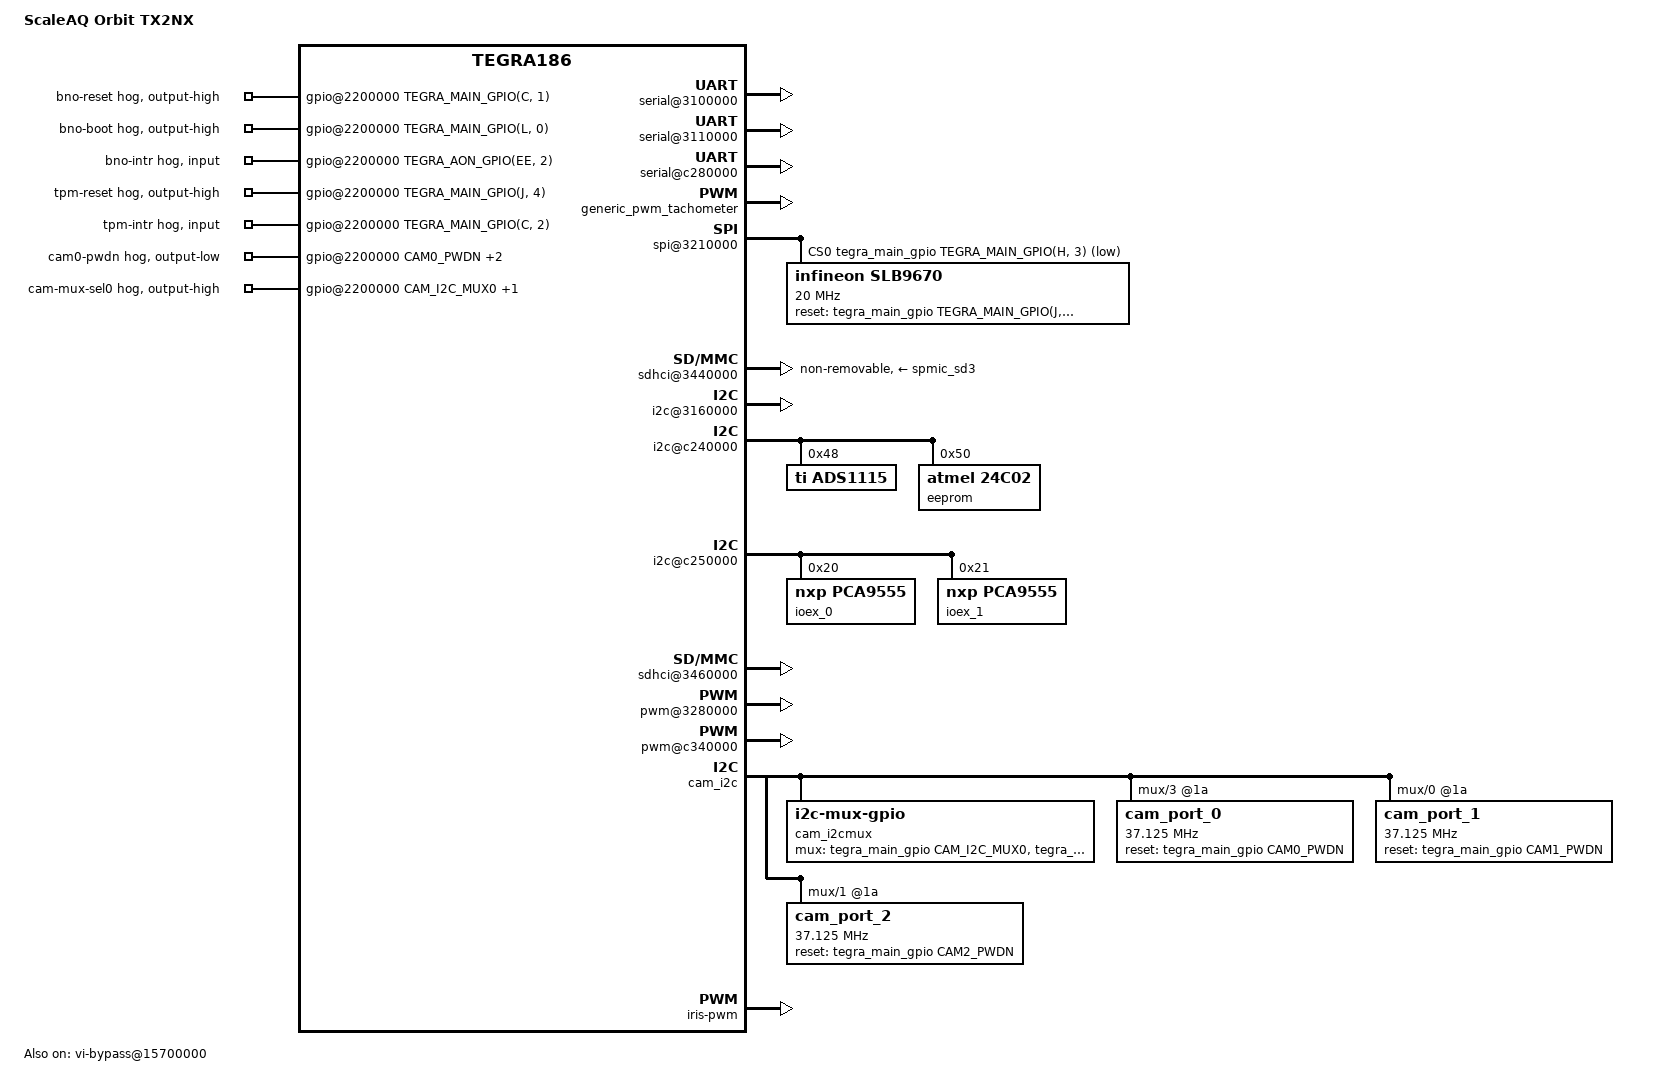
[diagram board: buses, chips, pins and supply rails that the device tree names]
/*
 * tegra186-p3636-0001-common.dtsi : Lanai common dtsi.
 *
 * Copyright (c) 2020, NVIDIA CORPORATION.  All rights reserved.
 *
 * This program is free software; you can redistribute it and/or modify
 * it under the terms of the GNU General Public License as published by
 * the Free Software Foundation; version 2 of the License.
 *
 * This program is distributed in the hope that it will be useful, but WITHOUT
 * ANY WARRANTY; without even the implied warranty of MERCHANTABILITY or
 * FITNESS FOR A PARTICULAR PURPOSE.  See the GNU General Public License for
 * more details.
 */

#include <dt-bindings/types.h>
#include <dt-bindings/gpio/tegra186-gpio.h>
#include <dt-bindings/audio/tegra186-audio.h>
/dts-v1/;

/memreserve/ 0x80000000 0x00010000;

#include <tegra186-soc/tegra186-soc-cvm.dtsi>
#include <tegra186-soc/mods-simple-bus.dtsi>
#include <t18x-common-platforms/tegra186-platforms-simple-bus.dtsi>
#include <t18x-common-platforms/tegra186-thermal-userspace-alert.dtsi>

//#include "common/tegra186-p3636-0001-a00-disp.dtsi"
#include "common/tegra186-p3636-0001-a00-powermon.dtsi"
#include "common/tegra186-p3636-0001-a00-power-tree.dtsi"
#include "common/tegra186-p3636-0001-a00-pwm-fan.dtsi"
#include "common/tegra186-p3636-0001-a00-thermal-fan-est.dtsi"
#include "common/tegra186-p3636-0001-a00-eqos.dtsi"
//#include "common/tegra186-p3636-0001-a00-audio.dtsi"
#include "common/tegra186-p3636-0001-a00-thermal.dtsi"
#include "common/tegra186-p3636-plugin-manager.dtsi"
#include "tegra18x-orbit_tx2nx_rev3-pinmux.dtsi"

#define EXTCON_NONE		0
#define EXTCON_USB		1
#define EXTCON_USB_Host		2

#define CAM0_PWDN	TEGRA_MAIN_GPIO(N, 0)
#define CAM1_PWDN	TEGRA_MAIN_GPIO(N, 3)
#define CAM2_PWDN	TEGRA_MAIN_GPIO(L, 2)
#define CAM_I2C_MUX0	TEGRA_MAIN_GPIO(C, 4)
#define CAM_I2C_MUX1	TEGRA_MAIN_GPIO(L, 3)

/ {
	model = "ScaleAQ Orbit TX2NX";
	compatible = "nvidia,lanai-3636", "nvidia,tegra186";

	#address-cells = <2>;
	#size-cells = <2>;

	eeprom-manager {
		bus@0 {
			/delete-node/ eeprom@1;
		};
	};

	serial@3100000 {
		compatible = "nvidia,tegra20-uart", "nvidia,tegra186-hsuart";
		console-port;
		sqa-automation-port;
		/delete-property/ resets;
		/delete-property/ reset-names;
		status = "okay";
	};

	serial@3110000 {
		status = "okay"; /* ttyTHS1 for Housing RS485 */
	};

	serial@c280000 {
		status = "okay"; /* ttyTHS2 for Oxygen */
	};

	serial@3130000 {
		compatible = "nvidia,tegra186-hsuart";
		status = "disabled";
	};

	vi-bypass@15700000{
		compatible = "nvidia,tegra186-vi-bypass";
		status = "okay";
	};

	tachometer@39c0000 {
		status = "okay";
	};

	generic_pwm_tachometer {
		pwms = <&tegra_tachometer 0 1000000>;
		status = "okay";
	};

	pmc@c360000 {
		nvidia,restrict-voltage-switch;
		iopad-defaults {
			sdmmc-io-pads {
				pins = "sdmmc1-hv", "sdmmc2-hv", "sdmmc3-hv";
				nvidia,enable-voltage-switching;
			};
		};
	};

	pmc@c370000 {
		nvidia,invert-interrupt;
	};

	spi@3210000 {
		status = "okay";

		cs-gpios = <&tegra_main_gpio TEGRA_MAIN_GPIO(H, 3) GPIO_ACTIVE_LOW>;

		slb9670: slb9670@0{
			compatible = "infineon,slb9670";
			reg = <0>;
			spi-max-frequency = <20000000>;
			status = "okay";
			reset-gpios = <&tegra_main_gpio TEGRA_MAIN_GPIO(J, 4) GPIO_ACTIVE_LOW>;

			controller-data {
				nvidia,variable-length-transfer;
				nvidia,rx-clk-tap-delay = <31>;
			};
		};
	};

	spi@3240000 {
		status = "disabled";
	};

	// SD card
	sdhci@3440000 {
		status = "okay";
		/delete-property/ cd-gpios;
		/delete-property/ nvidia,cd-wakeup-capable;
		broken-cd;
		disable-wp;
		vmmc-supply = <&spmic_sd3>;
		nvidia,vmmc-always-on;
		mmc-ocr-mask = <3>;
		sd-uhs-sdr104;
		sd-uhs-sdr50;
		sd-uhs-sdr25;
		sd-uhs-sdr12;
		mmc-ddr-1_8v;
		mmc-hs200-1_8v;
		keep-power-in-suspend;
		non-removable;
		force-non-removable-rescan;
		/delete-property/ mmc-ddr-1_8v;
	};

	/* I2C 0 - for BNO085 sensor */
	i2c@3160000 {
		status = "okay";
	};

	/* I2C1 - ADC reading */
	i2c@c240000 {
		status = "okay";

		ads1115: ads1115 {
			compatible = "ti,ads1115";
			status = "okay";
			#address-cells = <1>;
			#size-cells = <0>;
			reg = <0x48>;

			/* These two channel will be availabe in hwmon module.
			 * Check https://jumpnowtek.com/rpi/Using-ads1115-ADCs-with-Raspberry-Pis.html
			 *   and https://github.com/raspberrypi/linux/blob/rpi-4.9.y/arch/arm/boot/dts/overlays/ads1115-overlay.dts
			 *   and https://www.kernel.org/doc/Documentation/hwmon/ads1015
			 * Read by command: ls /sys/class/hwmon/hwmon0/device
			 */
			channel_a: channel_a {
				/* Presure sensor, 0-5V, throught divider resistors, range is 0-2.58V
				 */
				reg = <4>;
				ti,gain = <1>;
				ti,datarate = <1>;
			};

			channel_b: channel_b {
				reg = <5>;
				ti,gain = <1>;
				ti,datarate = <1>;
			};
		};

		/* Configuration for 24AA02E64 eeprom, but not sure it is correct or not
		 * There is no reference device tree for this type of EEPROM.
		 */
		eeprom@50 {
			compatible = "atmel,24c02";
			reg = <0x50>;
			pagesize = <8>;
		};
	};

	/* I2C 2 - for GPIO expander */
	i2c@c250000 {
		status = "okay";

		/* TCA9555 driver, address 0x20, interrupt GPIO10 */
		ioex_0: gpio@20 {
			compatible = "nxp,pca9555";
			reg = <0x20>;
			/* No input pins, so no interrupt definition is required */

			gpio-controller;
			#gpio-cells = <2>;
			ngpios = <16>;
			gpio-line-names =
				"shdn-1", "de-1", "re-1", "485232-1", "te-1",
				"iris-dir", "iris-en", "iris-sleep",
				"ir-filter-en", "ir-filter-ph",
				"", "", "", "", "", "";
			shdn-1 {
				gpio-hog;
				gpios = <0 GPIO_ACTIVE_HIGH>;
				output-low;
				line-name = "shdn-1";
			};
			de-1 {
				gpio-hog;
				gpios = <1 GPIO_ACTIVE_HIGH>;
				output-low;
				line-name = "de-1";
			};
			re-1 {
				gpio-hog;
				gpios = <2 GPIO_ACTIVE_HIGH>;
				output-low;
				line-name = "re-1";
			};
			485232-1 {
				gpio-hog;
				gpios = <3 GPIO_ACTIVE_HIGH>;
				output-low;
				line-name = "485232-1";
			};
			te-1 {
				gpio-hog;
				gpios = <4 GPIO_ACTIVE_HIGH>;
				output-low;
				line-name = "te-1";
			};
			iris-dir {
				gpio-hog;
				gpios = <5 GPIO_ACTIVE_HIGH>;
				output-low;
				line-name = "iris-dir";
			};
			iris-en {
				gpio-hog;
				gpios = <6 GPIO_ACTIVE_HIGH>;
				output-low;
				line-name = "iris-en";
			};
			iris-sleep {
				gpio-hog;
				gpios = <7 GPIO_ACTIVE_HIGH>;
				output-low;
				line-name = "iris-sleep";
			};
			ir-filter-en {
				gpio-hog;
				gpios = <8 GPIO_ACTIVE_HIGH>;
				output-low;
				line-name = "ir-filter-en";
			};
			ir-filter-ph {
				gpio-hog;
				gpios = <9 GPIO_ACTIVE_HIGH>;
				output-low;
				line-name = "ir-filter-ph";
			};
		};

		ioex_1: gpio@21 {
			compatible = "nxp,pca9555";
			reg = <0x21>;
			/* No input pins, so no interrupt definition is required */

			gpio-controller;
			#gpio-cells = <2>;
			ngpios = <16>;
			gpio-line-names = \
				"shdn-2", "de-2", "re-2", "485232-2", "te-2", \
				"", "", "en-24v", \
				"leden-1", "leden-2", "leden-3", \
				"en-10v", "", \
				"poe-tpl", "poe-tph", "poe-bt";
			shdn-2 {
				gpio-hog;
				gpios = <0 GPIO_ACTIVE_HIGH>;
				output-low;
				line-name = "shdn-2";
			};
			de-2 {
				gpio-hog;
				gpios = <1 GPIO_ACTIVE_HIGH>;
				output-low;
				line-name = "de-2";
			};
			re-2 {
				gpio-hog;
				gpios = <2 GPIO_ACTIVE_HIGH>;
				output-low;
				line-name = "re-2";
			};
			485232-2 {
				gpio-hog;
				gpios = <3 GPIO_ACTIVE_HIGH>;
				output-low;
				line-name = "485232-2";
			};
			te-2 {
				gpio-hog;
				gpios = <4 GPIO_ACTIVE_HIGH>;
				output-low;
				line-name = "te-2";
			};
			en-24v {
				gpio-hog;
				gpios = <7 GPIO_ACTIVE_HIGH>;
				output-low;
				line-name = "en-24v";
			};
			leden-1 {
				gpio-hog;
				gpios = <8 GPIO_ACTIVE_HIGH>;
				output-low;
				line-name = "leden-1";
			};
			leden-2 {
				gpio-hog;
				gpios = <9 GPIO_ACTIVE_HIGH>;
				output-low;
				line-name = "leden-2";
			};
			leden-3 {
				gpio-hog;
				gpios = <10 GPIO_ACTIVE_HIGH>;
				output-low;
				line-name = "leden-3";
			};
			en-10v {
				gpio-hog;
				gpios = <11 GPIO_ACTIVE_HIGH>;
				output-low;
				line-name = "en-10v";
			};
			poe-tpl {
				gpio-hog;
				gpios = <13 GPIO_ACTIVE_HIGH>;
				line-name = "poe-tpl";
			};
			poe-tph {
				gpio-hog;
				gpios = <14 GPIO_ACTIVE_HIGH>;
				line-name = "poe-tph";
			};
			poe-bt {
				gpio-hog;
				gpios = <15 GPIO_ACTIVE_HIGH>;
				line-name = "poe-bt";
			};
		};

		/delete-node/ battery-charger@6b;
	};

	external-connection {
		vbus_id_extcon: extcon@1 {
			compatible = "extcon-gpio-states";
			reg = <0x1>;
			extcon-gpio,name = "VBUS";
			extcon-gpio,wait-for-gpio-scan = <0>;
			extcon-gpio,cable-states = <
						    0x0 0x1
						    0x1 0x0>;
			gpios = <&tegra_main_gpio TEGRA_MAIN_GPIO(L, 4) 0>;
			extcon-gpio,out-cable-names = <EXTCON_USB EXTCON_USB_Host EXTCON_NONE>;
			wakeup-source;
			#extcon-cells = <1>;
		};
	};

	/* eMMC */
	sdhci@3460000 {
		uhs-mask = <0x0>; /*enable HS400 mode*/
		nvidia,enable-strobe-mode;
		nvidia,en-periodic-cflush;
		nvidia,periodic-cflush-to = <100>;
		nvidia,enable-hwcq;
		mmc-hs400-enhanced-strobe;
		status = "okay";
	};

	pwm@3280000 {
		status = "okay";
	};

	pwm@3290000 {
		status = "disabled";
	};

	pwm@32a0000 {
		status = "disabled";
	};

	pwm@c340000 {
		status = "okay";
	};

	soft_wdt:soft_watchdog {
		compatible = "softdog-platform";
		status = "okay";
	};

	mailbox@3538000 {
		status = "okay";
	};

	xudc@3550000 {
		extcon-cables = <&vbus_id_extcon 0>;
		extcon-cable-names = "vbus";
		#extcon-cells = <1>;
	};

	xhci@3530000 {
		extcon-cables = <&vbus_id_extcon 1>;
		extcon-cable-names = "id";
		#extcon-cells = <1>;
	};

	bwmgr {
		status = "okay";
	};

	tegra-hsp@3c00000 {
		status = "okay";
	};

	tegra-hsp@b150000 {
		status = "okay";
	};

	rtcpu@b000000 {
		status = "okay";
	};

	nvdumper {
		status = "disabled";
	};

	bcpu_alert: bcpu-throttle-alert {
		status = "okay";
	};

	mcpu_alert: mcpu-throttle-alert {
		status = "okay";
	};

	gpu_alert: gpu-throttle-alert {
		status = "okay";
	};

	mipical {
		status="okay";
	};

	cam_i2cmux{
		compatible = "i2c-mux-gpio";
		#address-cells = <1>;
		#size-cells = <0>;
		i2c-parent = <&cam_i2c>;
		mux-gpios = <&tegra_main_gpio CAM_I2C_MUX0 GPIO_ACTIVE_HIGH &tegra_main_gpio CAM_I2C_MUX1 GPIO_ACTIVE_HIGH>;

		i2c@0 {
			reg = <3>;
			#address-cells = <1>;
			#size-cells = <0>;
			cam_port_0@1a {
				reset-gpios = <&tegra_main_gpio CAM0_PWDN GPIO_ACTIVE_HIGH>;

				clocks = <&tegra_car TEGRA186_CLK_EXTPERIPH1>, <&tegra_car TEGRA186_CLK_PLLP_OUT0>;
					clock-names = "extperiph1", "pllp_grtba";
					mclk = "extperiph1";
					clock-frequency = <37125000>;

				temperature-addr = <0x48>;
			};
		};
		i2c@1 {
			reg = <0>;
			#address-cells = <1>;
			#size-cells = <0>;
			cam_port_1@1a {
				reset-gpios = <&tegra_main_gpio CAM1_PWDN GPIO_ACTIVE_HIGH>;

				clocks = <&tegra_car TEGRA186_CLK_EXTPERIPH1>, <&tegra_car TEGRA186_CLK_PLLP_OUT0>;
					clock-names = "extperiph1", "pllp_grtba";
					mclk = "extperiph1";
					clock-frequency = <37125000>;

				temperature-addr = <0x48>;
			};
		};
		i2c@2 {
			reg = <1>;
			#address-cells = <1>;
			#size-cells = <0>;
			cam_port_2@1a {
				reset-gpios = <&tegra_main_gpio CAM2_PWDN GPIO_ACTIVE_HIGH>;

				clocks = <&tegra_car TEGRA186_CLK_EXTPERIPH1>, <&tegra_car TEGRA186_CLK_PLLP_OUT0>;
					clock-names = "extperiph1", "pllp_grtba";
					mclk = "extperiph1";
					clock-frequency = <37125000>;

				temperature-addr = <0x48>;
			};
		};
	};

	gpio@2200000 {
		gpio-line-names = \
			"",            "",            "",          "",          "",           "",           "",          "",          "",          "",
			"",            "",            "",          "",          "",           "",           "",          "BNO_RST",   "TPM_INTR",  "",
			"CAM_I2C_SEL0","",            "",          "",          "",           "",           "",          "",          "",          "",
			"",            "",            "",          "",          "",           "",           "",          "",          "",          "",
			"",            "",            "",          "",          "",           "",           "",          "",          "",          "",
			"",            "",            "",          "",          "",           "",           "",          "",          "",          "",
			"",            "",            "",          "",          "",           "",           "",          "",          "",          "",
			"",            "",            "",          "",          "",           "",           "TPM_RST",   "",          "",          "",
			"",            "",            "",          "",          "",           "",           "",          "",          "BNO_BOOT",  "",
			"CAM2_PWDN",   "CAM_I2C_SEL1","USB_VBUS",  "",          "",           "",           "",          "",          "",          "",
			"",            "",            "",          "",          "CAM0_PWDN",  "",           "",          "CAM1_PWDN", "",          "",
			"",            "",            "",          "",          "CAM_I2C_SCL","CAM_I2C_SDA","",          "",          "",          "",
			"",            "",            "",          "",          "",           "",           "",          "",          "",          "",
			"",            "",            "",          "",          "",           "",           "",          "",          "",          "",
			"",            "",            "",          "",          "",           "",           "",          "",          "",          "",
			"",            "",            "UARTDBG_TX","UARTDBG_RX","",           "",           "",          "",          "",          "",
			"LED_DIM",     "",            "",          "",          "",           "",           "",          "",          "",          "",
			"",            "",            "",          "",          "FAN_PWM",    "",           "",          "",          "",          "",
			"",            "",            "",          "",          "",           "",           "",          "",          "FAN_TACH",  "",
			"",            "",            "",          "",          "",           "",           "",          "",          "",          "";

		bno-reset { // gpio10
			gpio-hog;
			output-high;
			gpios = <TEGRA_MAIN_GPIO(C, 1) GPIO_ACTIVE_HIGH>;
			label = "bno-reset";
			status = "okay";
		};
		bno-boot { // gpio05
			gpio-hog;
			output-high;
			gpios = <TEGRA_MAIN_GPIO(L, 0) GPIO_ACTIVE_HIGH>;
			label = "bno-boot";
			status = "okay";
		};
		bno-intr { // gpio11
			gpio-hog;
			gpios = <TEGRA_AON_GPIO(EE, 2) GPIO_ACTIVE_HIGH>;
			label = "bno-intr";
			status = "okay";
		};

		tpm-reset { // gpio9
			gpio-hog;
			output-high;
			gpios = <TEGRA_MAIN_GPIO(J, 4) GPIO_ACTIVE_HIGH>;
			label = "tpm-reset";
			status = "okay";
		};
		tpm-intr { // gpio12
			gpio-hog;
			gpios = <TEGRA_MAIN_GPIO(C, 2) GPIO_ACTIVE_HIGH>;
			label = "tpm-intr";
			status = "okay";
		};

		camera-control-output-low {
			gpio-hog;
			output-low;
			gpios = <CAM0_PWDN 0 CAM1_PWDN 0 CAM2_PWDN 0>;
			label = "cam0-pwdn","cam1-pwdn","cam2-pwdn";
		};
		camera-mux-port-0 {
			gpio-hog;
			output-high;
			gpios = <CAM_I2C_MUX0 0 CAM_I2C_MUX1 0>;
			label = "cam-mux-sel0","cam-mux-sel1";
		};
	};

	gpio@c2f0000 {
		gpio-line-names = \
			"",          "",          "",          "",          "",         "",         "",          "",          "",          "",
			"",          "",          "",          "IRIS_PWM",  "",         "",         "",          "",          "",          "",
			"",          "",          "",          "",          "",         "",         "",          "",          "",          "",
			"",          "",          "",          "",          "",         "",         "",          "",          "",          "",
			"",          "",          "",          "",          "",         "",         "",          "",          "",          "",
			"BNO_INTR",  "",          "",          "",          "",         "",         "",          "",          "",          "",
			"",          "",          "",          "",          "",         "",         "",          "",          "",          "";

		iris-pwm { // gpio13
			gpio-hog;
			gpios = <TEGRA_AON_GPIO(U, 5) GPIO_ACTIVE_HIGH>;
			label = "iris-pwm";
			output-low;
			status = "okay";
		};
	};
};
